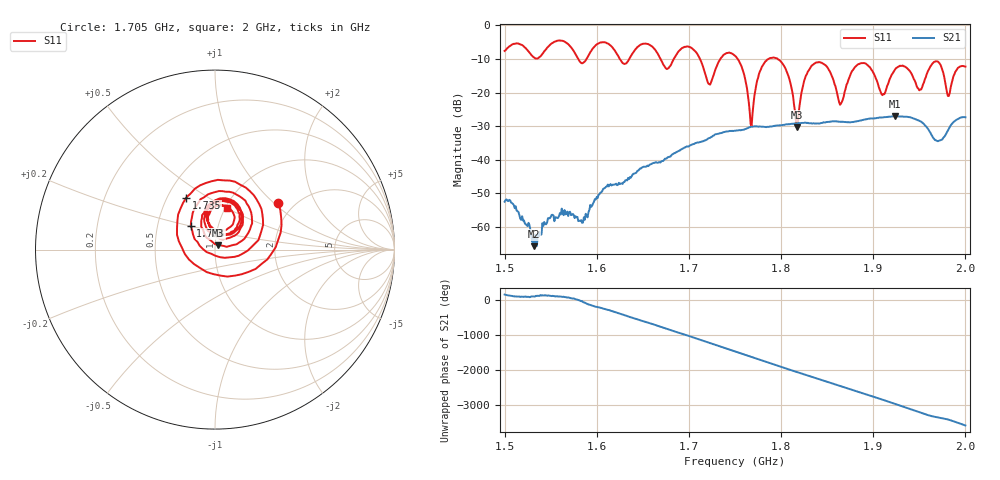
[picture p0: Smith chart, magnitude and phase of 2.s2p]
! NanoVNA-App by SYSJOINT et al v1.1.209 (+OD18)
! Date: 2026-01-21 14:53:52
! Start: 1,5GHz Stop: 2GHz Points: 501
! S-Parameter data: F S11 S21 S12 S22
# Hz S RI R 50
!  Frequency  S11_Real  S11_Imag  S21_Real  S21_Imag  S12_Real  S12_Imag  S22_Real  S22_Imag
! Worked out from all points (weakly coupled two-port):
!   501 points, 1.5 GHz to 2 GHz, reference 50 ohm
!   highest |S21| = -27.02 dB at 1.924 GHz (marker M1); lowest = -65.8 dB at 1.532 GHz (marker M2)
!   lowest |S11| = -30.4 dB at 1.817 GHz (marker M3), VSWR 1.06, Z = 51.5 + j2.69 ohm
!   |S11| at or under -10 dB: 1.712 GHz to 1.734 GHz (22.14 MHz wide, 1.29 % of centre); 1.753 GHz to 1.786 GHz (33.34 MHz wide, 1.88 % of centre); 1.796 GHz to end of sweep (the widest 3 of 6)
!   S12 and S22 are empty: the file has one direction only
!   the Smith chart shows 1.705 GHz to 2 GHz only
!   S11 on the Smith chart (normalised r, x): 1.705 GHz: 1.67, +1.06; 1.735 GHz: 0.62, +0.41; 1.776 GHz: 0.74, +0.20; 2 GHz: 1.02, +0.51
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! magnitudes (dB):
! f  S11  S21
! 1.5 GHz  -7.6  -52.5
! 1.532 GHz  -9.6  -65.8
! 1.561 GHz  -4.5  -56.3
! 1.584 GHz  -11.3  -58.8
! 1.667 GHz  -8.8  -40.8
! 1.705 GHz  -7.2  -35.3
! 1.722 GHz  -17.5  -33.5
! 1.735 GHz  -9.6  -32.1
! 1.75 GHz  -9.0  -31.3
! 1.767 GHz  -29.4  -30.2
! 1.776 GHz  -14.5  -30.2
! 1.8 GHz  -10.8  -29.8
! 1.817 GHz  -30.4  -29.2
! 1.834 GHz  -11.8  -29.2
! 1.865 GHz  -23.3  -28.7
! 1.885 GHz  -11.5  -28.4
! 1.917 GHz  -16.6  -27.2
! 1.924 GHz  -13.0  -27.0
! 1.951 GHz  -19.1  -28.5
! 1.97 GHz  -10.7  -34.5
! 1.982 GHz  -21.0  -30.8
! 2 GHz  -12.3  -27.4
